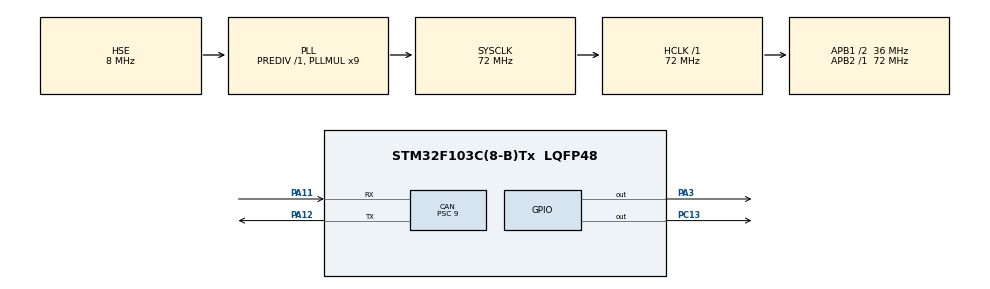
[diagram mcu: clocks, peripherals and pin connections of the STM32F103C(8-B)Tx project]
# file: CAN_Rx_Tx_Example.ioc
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CAN.BS1=CAN_BS1_3TQ
CAN.BS2=CAN_BS2_4TQ
CAN.CalculateBaudRate=500000
CAN.CalculateTimeBit=2000
CAN.CalculateTimeQuantum=250.0
CAN.Mode=CAN_MODE_NORMAL
CAN.Prescaler=9
CAN.SJW=CAN_SJW_1TQ
Mcu.Family=STM32F1
Mcu.Name=STM32F103C(8-B)Tx
Mcu.Package=LQFP48
NVIC.PriorityGroup=NVIC_PRIORITYGROUP_4
NVIC.USB_LP_CAN1_RX0_IRQn=true\:0\:0\:false\:false\:true\:true\:true\:true
PA11.Mode=CAN_Activate
PA11.Signal=CAN_RX
PA12.Mode=CAN_Activate
PA12.Signal=CAN_TX
PA13.Mode=Serial_Wire
PA13.Signal=SYS_JTMS-SWDIO
PA14.Mode=Serial_Wire
PA14.Signal=SYS_JTCK-SWCLK
PA3.Signal=GPIO_Output
PC13-TAMPER-RTC.GPIO_PuPd=GPIO_NOPULL
PC13-TAMPER-RTC.Signal=GPIO_Output
PD0-OSC_IN.Mode=HSE-External-Oscillator
PD0-OSC_IN.Signal=RCC_OSC_IN
PD1-OSC_OUT.Mode=HSE-External-Oscillator
PD1-OSC_OUT.Signal=RCC_OSC_OUT
ProjectManager.HeapSize=0x200
ProjectManager.StackSize=0x400
ProjectManager.TargetToolchain=STM32CubeIDE
RCC.AHBFreq_Value=72000000
RCC.APB1CLKDivider=RCC_HCLK_DIV2
RCC.APB1Freq_Value=36000000
RCC.APB1TimFreq_Value=72000000
RCC.APB2Freq_Value=72000000
RCC.APB2TimFreq_Value=72000000
RCC.HCLKFreq_Value=72000000
RCC.PLLMUL=RCC_PLL_MUL9
RCC.PLLSourceVirtual=RCC_PLLSOURCE_HSE
RCC.SYSCLKFreq_VALUE=72000000
RCC.SYSCLKSource=RCC_SYSCLKSOURCE_PLLCLK
RCC.USBFreq_Value=72000000
board=custom

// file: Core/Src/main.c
/* USER CODE BEGIN Header */
/**
  ******************************************************************************
  * @file           : main.c
  * @brief          : Main program body
  ******************************************************************************
  * @attention
  *
  * <h2><center>&copy; Copyright (c) 2020 STMicroelectronics.
  * All rights reserved.</center></h2>
  *
  * This software component is licensed by ST under BSD 3-Clause license,
  * the "License"; You may not use this file except in compliance with the
  * License. You may obtain a copy of the License at:
  *                        opensource.org/licenses/BSD-3-Clause
  *
  ******************************************************************************
  */
/* USER CODE END Header */
#include "main.h"
#include "can.h"
#include "gpio.h"
#include <stdio.h>

/* USER CODE BEGIN PV */

CAN_RxHeaderTypeDef rxHeader; //CAN Bus Transmit Header
CAN_TxHeaderTypeDef txHeader; //CAN Bus Receive Header
uint8_t canRX[8] = {0,0,0,0,0,0,0,0};  //CAN Bus Receive Buffer
CAN_FilterTypeDef canfil; //CAN Bus Filter
uint32_t canMailbox; //CAN Bus Mail box variable

/* USER CODE END PV */

void SystemClock_Config(void);

int main(void)
{

  /* MCU Configuration--------------------------------------------------------*/

  /* Reset of all peripherals, Initializes the Flash interface and the Systick. */
  HAL_Init();

  /* Configure the system clock */
  SystemClock_Config();

  /* Initialize all configured peripherals */
  MX_GPIO_Init();
  MX_CAN_Init();
  /* USER CODE BEGIN 2 */

  canfil.FilterBank = 0;
  canfil.FilterMode = CAN_FILTERMODE_IDMASK;
  canfil.FilterFIFOAssignment = CAN_RX_FIFO0;
  canfil.FilterIdHigh = 0;
  canfil.FilterIdLow = 0;
  canfil.FilterMaskIdHigh = 0;
  canfil.FilterMaskIdLow = 0;
  canfil.FilterScale = CAN_FILTERSCALE_32BIT;
  canfil.FilterActivation = ENABLE;
  canfil.SlaveStartFilterBank = 14;

  txHeader.DLC = 1; // ?��?��?�� 길이
  txHeader.IDE = CAN_ID_STD; // std id ?��?��?��x
  txHeader.RTR = CAN_RTR_DATA;
  txHeader.StdId = 0x80; // 보내?�� 메시�?? id == 30
  //txHeader.ExtId = 0x02;
  txHeader.TransmitGlobalTime = DISABLE;

  HAL_CAN_ConfigFilter(&hcan,&canfil);
  HAL_CAN_Start(&hcan);
  HAL_CAN_ActivateNotification(&hcan,CAN_IT_RX_FIFO0_MSG_PENDING);

  /* USER CODE END 2 */

  /* Infinite loop */
  /* USER CODE BEGIN WHILE */
  while (1)
  {
	  //uint8_t csend1[] = {0x01,0x02,0x03,0x04,0x05,0x06,0x07,0x08};
	  //uint8_t csend2[] = {0xDD,0x1A,0x06,0x22,0x04,0x0F,0xF2,0x02};
	  //HAL_CAN_AddTxMessage(&hcan,&txHeader,csend1,&canMailbox);
	  //HAL_CAN_AddTxMessage(&hcan,&txHeader,csend2,&canMailbox);
	  //HAL_Delay(100);
	  //uint8_t csend2[] = {0x00,0x00,0x00,0x00,0x00,0x00,0x00,0x00};
	  //HAL_CAN_AddTxMessage(&hcan,&txHeader, csend2,&canMailbox);
	  //HAL_Delay(1000);
	  //uint8_t csend1[] = {0x01,0x01,0x01,0x01,0x01,0x01,0x01,0x01};
	  //HAL_CAN_AddTxMessage(&hcan,&txHeader, csend1,&canMailbox);

    /* USER CODE END WHILE */

  }
}

void SystemClock_Config(void)
{
  RCC_OscInitTypeDef RCC_OscInitStruct = {0};
  RCC_ClkInitTypeDef RCC_ClkInitStruct = {0};

  /** Initializes the RCC Oscillators according to the specified parameters
  * in the RCC_OscInitTypeDef structure.
  */
  RCC_OscInitStruct.OscillatorType = RCC_OSCILLATORTYPE_HSE;
  RCC_OscInitStruct.HSEState = RCC_HSE_ON;
  RCC_OscInitStruct.HSEPredivValue = RCC_HSE_PREDIV_DIV1;
  RCC_OscInitStruct.HSIState = RCC_HSI_ON;
  RCC_OscInitStruct.PLL.PLLState = RCC_PLL_ON;
  RCC_OscInitStruct.PLL.PLLSource = RCC_PLLSOURCE_HSE;
  RCC_OscInitStruct.PLL.PLLMUL = RCC_PLL_MUL9;
  if (HAL_RCC_OscConfig(&RCC_OscInitStruct) != HAL_OK)
  {
    Error_Handler();
  }

  /** Initializes the CPU, AHB and APB buses clocks
  */
  RCC_ClkInitStruct.ClockType = RCC_CLOCKTYPE_HCLK|RCC_CLOCKTYPE_SYSCLK
                              |RCC_CLOCKTYPE_PCLK1|RCC_CLOCKTYPE_PCLK2;
  RCC_ClkInitStruct.SYSCLKSource = RCC_SYSCLKSOURCE_PLLCLK;
  RCC_ClkInitStruct.AHBCLKDivider = RCC_SYSCLK_DIV1;
  RCC_ClkInitStruct.APB1CLKDivider = RCC_HCLK_DIV2;
  RCC_ClkInitStruct.APB2CLKDivider = RCC_HCLK_DIV1;

  if (HAL_RCC_ClockConfig(&RCC_ClkInitStruct, FLASH_LATENCY_2) != HAL_OK)
  {
    Error_Handler();
  }
}

/* USER CODE BEGIN 4 */
uint32_t lastTick = 0;

void HAL_CAN_RxFifo0MsgPendingCallback(CAN_HandleTypeDef *hcan1)
{
	uint32_t currentTick = HAL_GetTick();

    CAN_RxHeaderTypeDef rxHeader;
    uint8_t csend1[] = {0};		// ultrasonic sensor data under the 15
    uint8_t csend2[] = {0x0F};	// wii data < 25, motor speed 15
    uint8_t csend3[] = {0x14};	// wii data >= 25 motor speed 15 but back_motor
    uint8_t csend4[] = {0x1E};	// motor speed 30

    //uint8_t rxData[8];
    if (currentTick - lastTick >= 50) {  // 10ms 주기
    	lastTick = currentTick;

    if (HAL_CAN_GetRxMessage(hcan1, CAN_RX_FIFO0, &rxHeader, canRX) == HAL_OK) {
         //ultrasonic data process
    	if (rxHeader.StdId == 0xF6){
    		if(canRX[1] > 0x1E && canRX[1] != 0x32){
    		    HAL_CAN_AddTxMessage(&hcan,&txHeader, csend2,&canMailbox);
    		}
    		else if(canRX[1] == 0x00){

    		    HAL_CAN_AddTxMessage(&hcan,&txHeader, csend3,&canMailbox);
    		}
    		else if(canRX[1] >= 0x32){
    		    HAL_CAN_AddTxMessage(&hcan,&txHeader, csend4,&canMailbox);
    		}
    	}
    }

        if (rxHeader.StdId == 0xF6) {
        	if(canRX[0] <= 0x0F){
        		if(canRX[1] >= 10){ // this condition when wii data is >= 10 because back motor data is 0
        			HAL_CAN_AddTxMessage(&hcan,&txHeader, csend1,&canMailbox); // down 15
        		}
        	}
        }
	}
}
/* USER CODE END 4 */

void Error_Handler(void)
{
}
